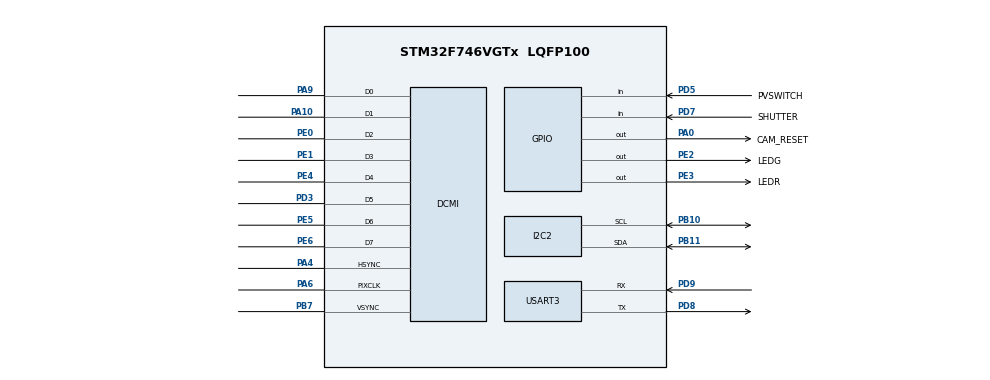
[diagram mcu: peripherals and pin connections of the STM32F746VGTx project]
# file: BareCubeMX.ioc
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Mcu.Family=STM32F7
Mcu.Name=STM32F746VGTx
Mcu.Package=LQFP100
NVIC.PriorityGroup=NVIC_PRIORITYGROUP_4
PA0/WKUP.GPIO_Label=CAM_RESET
PA0/WKUP.GPIO_PuPd=GPIO_PULLUP
PA0/WKUP.PinState=GPIO_PIN_SET
PA0/WKUP.Signal=GPIO_Output
PA10.Mode=Slave_8_bits_External_Synchro
PA10.Signal=DCMI_D1
PA4.Mode=Slave_8_bits_External_Synchro
PA4.Signal=DCMI_HSYNC
PA6.Mode=Slave_8_bits_External_Synchro
PA6.Signal=DCMI_PIXCLK
PA9.Mode=Slave_8_bits_External_Synchro
PA9.Signal=DCMI_D0
PB10.Mode=I2C
PB10.Signal=I2C2_SCL
PB11.Mode=I2C
PB11.Signal=I2C2_SDA
PB7.Mode=Slave_8_bits_External_Synchro
PB7.Signal=DCMI_VSYNC
PD3.Mode=Slave_8_bits_External_Synchro
PD3.Signal=DCMI_D5
PD5.GPIO_Label=PVSWITCH
PD5.Signal=GPIO_Input
PD7.GPIO_Label=SHUTTER
PD7.Signal=GPIO_Input
PD8.Mode=Asynchronous
PD8.Signal=USART3_TX
PD9.Mode=Asynchronous
PD9.Signal=USART3_RX
PE0.Mode=Slave_8_bits_External_Synchro
PE0.Signal=DCMI_D2
PE1.Mode=Slave_8_bits_External_Synchro
PE1.Signal=DCMI_D3
PE2.GPIO_Label=LEDG
PE2.Signal=GPIO_Output
PE3.GPIO_Label=LEDR
PE3.PinState=GPIO_PIN_SET
PE3.Signal=GPIO_Output
PE4.Mode=Slave_8_bits_External_Synchro
PE4.Signal=DCMI_D4
PE5.Mode=Slave_8_bits_External_Synchro
PE5.Signal=DCMI_D6
PE6.Mode=Slave_8_bits_External_Synchro
PE6.Signal=DCMI_D7
ProjectManager.HeapSize=0x200
ProjectManager.StackSize=0x400
ProjectManager.TargetToolchain=SW4STM32
RCC.HSE_VALUE=25000000
RCC.HSI_VALUE=16000000
RCC.LSE_VALUE=32768
RCC.USBFreq_Value=96000000
RCC.VCOOutputFreq_Value=192000000
USART3.VirtualMode-Asynchronous=VM_ASYNC
USART3.WordLength=WORDLENGTH_8B
board=BareCubeMX

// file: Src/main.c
/**
  ******************************************************************************
  * File Name          : main.c
  * Description        : Main program body
  ******************************************************************************
  ** This notice applies to any and all portions of this file
  * that are not between comment pairs USER CODE BEGIN and
  * USER CODE END. Other portions of this file, whether
  * inserted by the user or by software development tools
  * are owned by their respective copyright owners.
  *
  * COPYRIGHT(c) 2017 STMicroelectronics
  *
  * Redistribution and use in source and binary forms, with or without modification,
  * are permitted provided that the following conditions are met:
  *   1. Redistributions of source code must retain the above copyright notice,
  *      this list of conditions and the following disclaimer.
  *   2. Redistributions in binary form must reproduce the above copyright notice,
  *      this list of conditions and the following disclaimer in the documentation
  *      and/or other materials provided with the distribution.
  *   3. Neither the name of STMicroelectronics nor the names of its contributors
  *      may be used to endorse or promote products derived from this software
  *      without specific prior written permission.
  *
  * THIS SOFTWARE IS PROVIDED BY THE COPYRIGHT HOLDERS AND CONTRIBUTORS "AS IS"
  * AND ANY EXPRESS OR IMPLIED WARRANTIES, INCLUDING, BUT NOT LIMITED TO, THE
  * IMPLIED WARRANTIES OF MERCHANTABILITY AND FITNESS FOR A PARTICULAR PURPOSE ARE
  * DISCLAIMED. IN NO EVENT SHALL THE COPYRIGHT HOLDER OR CONTRIBUTORS BE LIABLE
  * FOR ANY DIRECT, INDIRECT, INCIDENTAL, SPECIAL, EXEMPLARY, OR CONSEQUENTIAL
  * DAMAGES (INCLUDING, BUT NOT LIMITED TO, PROCUREMENT OF SUBSTITUTE GOODS OR
  * SERVICES; LOSS OF USE, DATA, OR PROFITS; OR BUSINESS INTERRUPTION) HOWEVER
  * CAUSED AND ON ANY THEORY OF LIABILITY, WHETHER IN CONTRACT, STRICT LIABILITY,
  * OR TORT (INCLUDING NEGLIGENCE OR OTHERWISE) ARISING IN ANY WAY OUT OF THE USE
  * OF THIS SOFTWARE, EVEN IF ADVISED OF THE POSSIBILITY OF SUCH DAMAGE.
  *
  ******************************************************************************
  */

#include "main.h"
#include "stm32f7xx_hal.h"

DCMI_HandleTypeDef hdcmi;

I2C_HandleTypeDef hi2c2;

UART_HandleTypeDef huart3;

/* USER CODE BEGIN PV */
/* Private variables ---------------------------------------------------------*/

/* USER CODE END PV */

void SystemClock_Config(void);
static void MX_GPIO_Init(void);
static void MX_USART3_UART_Init(void);
static void MX_DCMI_Init(void);
static void MX_I2C2_Init(void);

/* USER CODE BEGIN PFP */
/* Private function prototypes -----------------------------------------------*/

/* USER CODE END PFP */

/* USER CODE BEGIN 0 */
#define OV7720_REG_NUM 			4
#define OV7720_WRITE_ADDR 	    0x42
#define OV7720_READ_ADDR 		0x43

#define OV2640_I2C_ADDR         0x30

#define IMG_ROWS    320
#define IMG_COLUMNS 240
/* USER CODE END 0 */

int main(void)
{

  /* MCU Configuration----------------------------------------------------------*/

  /* Reset of all peripherals, Initializes the Flash interface and the Systick. */
  HAL_Init();

  /* Configure the system clock */
  SystemClock_Config();

  /* Initialize all configured peripherals */
  MX_GPIO_Init();
  MX_USART3_UART_Init();
  MX_DCMI_Init();
  MX_I2C2_Init();

  /* USER CODE BEGIN 2 */

  HAL_GPIO_WritePin(CAM_RESET_GPIO_Port, CAM_RESET_Pin, 1);
  /* USER CODE END 2 */

  /* Infinite loop */
  /* USER CODE BEGIN WHILE */
  while (1)
  {

	  // GPIO
	  HAL_GPIO_TogglePin(LEDR_GPIO_Port, LEDR_Pin);
	  HAL_Delay(500);

	  HAL_GPIO_WritePin(LEDG_GPIO_Port, LEDG_Pin,
			  HAL_GPIO_ReadPin(PVSWITCH_GPIO_Port,PVSWITCH_Pin));

	  uint8_t i2cbuffer[10] = {42};

	  int error = HAL_I2C_Mem_Read(&hi2c2, OV2640_I2C_ADDR, 0x00, I2C_MEMADD_SIZE_8BIT, &i2cbuffer,1 ,1000);

	  uint8_t str[100]={};
	  sprintf(str, "Data from i2c: %x (error %x)\n", i2cbuffer[0], error);
	  HAL_UART_Transmit(&huart3, str, strlen(str), 0xFFFF);

	  for (int i = 0; i < 256; i++){
		  uint8_t str[100]={};
		  if(0==HAL_I2C_IsDeviceReady(&hi2c2, i, 2, 100)){
			  sprintf(str, "Response from device %x \n", i);
			  HAL_UART_Transmit(&huart3, str, strlen(str), 0xFFFF);
		  }

	  }
  /* USER CODE END WHILE */

  }

}

/** System Clock Configuration
*/
void SystemClock_Config(void)
{

  RCC_OscInitTypeDef RCC_OscInitStruct;
  RCC_ClkInitTypeDef RCC_ClkInitStruct;
  RCC_PeriphCLKInitTypeDef PeriphClkInitStruct;

    /**Configure the main internal regulator output voltage
    */
  __HAL_RCC_PWR_CLK_ENABLE();

  __HAL_PWR_VOLTAGESCALING_CONFIG(PWR_REGULATOR_VOLTAGE_SCALE3);

    /**Initializes the CPU, AHB and APB busses clocks
    */
  RCC_OscInitStruct.OscillatorType = RCC_OSCILLATORTYPE_HSI;
  RCC_OscInitStruct.HSIState = RCC_HSI_ON;
  RCC_OscInitStruct.HSICalibrationValue = 16;
  RCC_OscInitStruct.PLL.PLLState = RCC_PLL_NONE;
  if (HAL_RCC_OscConfig(&RCC_OscInitStruct) != HAL_OK)
  {
    _Error_Handler(__FILE__, __LINE__);
  }

    /**Initializes the CPU, AHB and APB busses clocks
    */
  RCC_ClkInitStruct.ClockType = RCC_CLOCKTYPE_HCLK|RCC_CLOCKTYPE_SYSCLK
                              |RCC_CLOCKTYPE_PCLK1|RCC_CLOCKTYPE_PCLK2;
  RCC_ClkInitStruct.SYSCLKSource = RCC_SYSCLKSOURCE_HSI;
  RCC_ClkInitStruct.AHBCLKDivider = RCC_SYSCLK_DIV1;
  RCC_ClkInitStruct.APB1CLKDivider = RCC_HCLK_DIV1;
  RCC_ClkInitStruct.APB2CLKDivider = RCC_HCLK_DIV1;

  if (HAL_RCC_ClockConfig(&RCC_ClkInitStruct, FLASH_LATENCY_0) != HAL_OK)
  {
    _Error_Handler(__FILE__, __LINE__);
  }

  PeriphClkInitStruct.PeriphClockSelection = RCC_PERIPHCLK_USART3|RCC_PERIPHCLK_I2C2;
  PeriphClkInitStruct.Usart3ClockSelection = RCC_USART3CLKSOURCE_PCLK1;
  PeriphClkInitStruct.I2c2ClockSelection = RCC_I2C2CLKSOURCE_PCLK1;
  if (HAL_RCCEx_PeriphCLKConfig(&PeriphClkInitStruct) != HAL_OK)
  {
    _Error_Handler(__FILE__, __LINE__);
  }

    /**Configure the Systick interrupt time
    */
  HAL_SYSTICK_Config(HAL_RCC_GetHCLKFreq()/1000);

    /**Configure the Systick
    */
  HAL_SYSTICK_CLKSourceConfig(SYSTICK_CLKSOURCE_HCLK);

  /* SysTick_IRQn interrupt configuration */
  HAL_NVIC_SetPriority(SysTick_IRQn, 0, 0);
}

/* DCMI init function */
static void MX_DCMI_Init(void)
{

  hdcmi.Instance = DCMI;
  hdcmi.Init.SynchroMode = DCMI_SYNCHRO_HARDWARE;
  hdcmi.Init.PCKPolarity = DCMI_PCKPOLARITY_FALLING;
  hdcmi.Init.VSPolarity = DCMI_VSPOLARITY_LOW;
  hdcmi.Init.HSPolarity = DCMI_HSPOLARITY_LOW;
  hdcmi.Init.CaptureRate = DCMI_CR_ALL_FRAME;
  hdcmi.Init.ExtendedDataMode = DCMI_EXTEND_DATA_8B;
  hdcmi.Init.JPEGMode = DCMI_JPEG_DISABLE;
  hdcmi.Init.ByteSelectMode = DCMI_BSM_ALL;
  hdcmi.Init.ByteSelectStart = DCMI_OEBS_ODD;
  hdcmi.Init.LineSelectMode = DCMI_LSM_ALL;
  hdcmi.Init.LineSelectStart = DCMI_OELS_ODD;
  if (HAL_DCMI_Init(&hdcmi) != HAL_OK)
  {
    _Error_Handler(__FILE__, __LINE__);
  }

}

/* I2C2 init function */
static void MX_I2C2_Init(void)
{

  hi2c2.Instance = I2C2;
  hi2c2.Init.Timing = 0x00303D5B;
  hi2c2.Init.OwnAddress1 = 0;
  hi2c2.Init.AddressingMode = I2C_ADDRESSINGMODE_7BIT;
  hi2c2.Init.DualAddressMode = I2C_DUALADDRESS_DISABLE;
  hi2c2.Init.OwnAddress2 = 0;
  hi2c2.Init.OwnAddress2Masks = I2C_OA2_NOMASK;
  hi2c2.Init.GeneralCallMode = I2C_GENERALCALL_DISABLE;
  hi2c2.Init.NoStretchMode = I2C_NOSTRETCH_DISABLE;
  if (HAL_I2C_Init(&hi2c2) != HAL_OK)
  {
    _Error_Handler(__FILE__, __LINE__);
  }

    /**Configure Analogue filter
    */
  if (HAL_I2CEx_ConfigAnalogFilter(&hi2c2, I2C_ANALOGFILTER_ENABLE) != HAL_OK)
  {
    _Error_Handler(__FILE__, __LINE__);
  }

    /**Configure Digital filter
    */
  if (HAL_I2CEx_ConfigDigitalFilter(&hi2c2, 0) != HAL_OK)
  {
    _Error_Handler(__FILE__, __LINE__);
  }

}

/* USART3 init function */
static void MX_USART3_UART_Init(void)
{

  huart3.Instance = USART3;
  huart3.Init.BaudRate = 115200;
  huart3.Init.WordLength = UART_WORDLENGTH_8B;
  huart3.Init.StopBits = UART_STOPBITS_1;
  huart3.Init.Parity = UART_PARITY_NONE;
  huart3.Init.Mode = UART_MODE_TX_RX;
  huart3.Init.HwFlowCtl = UART_HWCONTROL_NONE;
  huart3.Init.OverSampling = UART_OVERSAMPLING_16;
  huart3.Init.OneBitSampling = UART_ONE_BIT_SAMPLE_DISABLE;
  huart3.AdvancedInit.AdvFeatureInit = UART_ADVFEATURE_NO_INIT;
  if (HAL_UART_Init(&huart3) != HAL_OK)
  {
    _Error_Handler(__FILE__, __LINE__);
  }

}

/** Configure pins as
        * Analog
        * Input
        * Output
        * EVENT_OUT
        * EXTI
*/
static void MX_GPIO_Init(void)
{

  GPIO_InitTypeDef GPIO_InitStruct;

  /* GPIO Ports Clock Enable */
  __HAL_RCC_GPIOE_CLK_ENABLE();
  __HAL_RCC_GPIOA_CLK_ENABLE();
  __HAL_RCC_GPIOB_CLK_ENABLE();
  __HAL_RCC_GPIOD_CLK_ENABLE();

  /*Configure GPIO pin Output Level */
  HAL_GPIO_WritePin(LEDG_GPIO_Port, LEDG_Pin, GPIO_PIN_RESET);

  /*Configure GPIO pin Output Level */
  HAL_GPIO_WritePin(LEDR_GPIO_Port, LEDR_Pin, GPIO_PIN_SET);

  /*Configure GPIO pin Output Level */
  HAL_GPIO_WritePin(CAM_RESET_GPIO_Port, CAM_RESET_Pin, GPIO_PIN_SET);

  /*Configure GPIO pins : LEDG_Pin LEDR_Pin */
  GPIO_InitStruct.Pin = LEDG_Pin|LEDR_Pin;
  GPIO_InitStruct.Mode = GPIO_MODE_OUTPUT_PP;
  GPIO_InitStruct.Pull = GPIO_NOPULL;
  GPIO_InitStruct.Speed = GPIO_SPEED_FREQ_LOW;
  HAL_GPIO_Init(GPIOE, &GPIO_InitStruct);

  /*Configure GPIO pin : CAM_RESET_Pin */
  GPIO_InitStruct.Pin = CAM_RESET_Pin;
  GPIO_InitStruct.Mode = GPIO_MODE_OUTPUT_PP;
  GPIO_InitStruct.Pull = GPIO_PULLUP;
  GPIO_InitStruct.Speed = GPIO_SPEED_FREQ_LOW;
  HAL_GPIO_Init(CAM_RESET_GPIO_Port, &GPIO_InitStruct);

  /*Configure GPIO pins : PVSWITCH_Pin SHUTTER_Pin */
  GPIO_InitStruct.Pin = PVSWITCH_Pin|SHUTTER_Pin;
  GPIO_InitStruct.Mode = GPIO_MODE_INPUT;
  GPIO_InitStruct.Pull = GPIO_NOPULL;
  HAL_GPIO_Init(GPIOD, &GPIO_InitStruct);

}

void _Error_Handler(char * file, int line)
{
  while(1)
  {
  }
}

/************************ (C) COPYRIGHT STMicroelectronics *****END OF FILE****/
